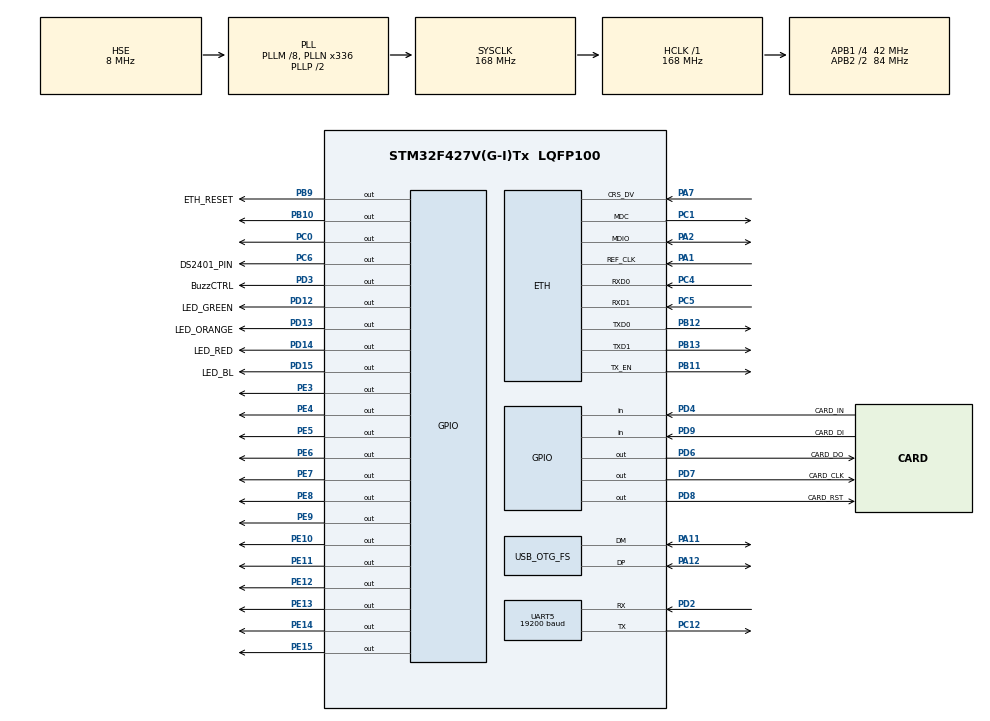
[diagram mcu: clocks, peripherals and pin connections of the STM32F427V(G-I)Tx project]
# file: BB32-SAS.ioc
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ADC1.Channel-2\#ChannelRegularConversion=ADC_CHANNEL_VREFINT
ADC1.NbrOfConversionFlag=1
ADC1.Rank-2\#ChannelRegularConversion=1
ADC1.SamplingTime-2\#ChannelRegularConversion=ADC_SAMPLETIME_480CYCLES
ADC1.master=1
Dma.Request0=UART5_RX
Dma.UART5_RX.0.Direction=DMA_PERIPH_TO_MEMORY
Dma.UART5_RX.0.FIFOMode=DMA_FIFOMODE_DISABLE
Dma.UART5_RX.0.Instance=DMA1_Stream0
Dma.UART5_RX.0.MemDataAlignment=DMA_MDATAALIGN_BYTE
Dma.UART5_RX.0.MemInc=DMA_MINC_ENABLE
Dma.UART5_RX.0.Mode=DMA_NORMAL
Dma.UART5_RX.0.PeriphDataAlignment=DMA_PDATAALIGN_BYTE
Dma.UART5_RX.0.PeriphInc=DMA_PINC_DISABLE
Dma.UART5_RX.0.Priority=DMA_PRIORITY_LOW
ETH.MediaInterface=HAL_ETH_RMII_MODE
LWIP.BSP.number=1
LWIP.IP_ADDRESS=172.017.000.254
LWIP.LWIP_BROADCAST_PING=1
LWIP.LWIP_DHCP=0
LWIP.LWIP_STATS=0
LWIP.MEMP_NUM_NETCONN=8
LWIP.MEM_SIZE=8192
LWIP.NETMASK_ADDRESS=255.255.000.000
LWIP.Version=v2.1.2_Cube
LWIP0.BSP.STBoard=false
LWIP0.BSP.api=BSP_COMPONENT_DRIVER
LWIP0.BSP.component=DP83848
LWIP0.BSP.instance=DP83848
LWIP0.BSP.name=Driver_PHY
LWIP0.BSP.semaphore=S_DP83848
LWIP0.BSP.solution=DP83848
Mcu.Family=STM32F4
Mcu.Name=STM32F427V(G-I)Tx
Mcu.Package=LQFP100
NVIC.DMA1_Stream0_IRQn=true\:0\:0\:false\:false\:true\:false\:true\:true
NVIC.ETH_IRQn=true\:0\:0\:false\:false\:true\:true\:true\:true
NVIC.OTG_FS_IRQn=true\:0\:0\:false\:false\:true\:false\:true\:true
NVIC.PriorityGroup=NVIC_PRIORITYGROUP_4
NVIC.UART5_IRQn=true\:0\:0\:false\:false\:true\:true\:true\:true
PA1.Mode=RMII
PA1.Signal=ETH_REF_CLK
PA11.Mode=Host_Only
PA11.Signal=USB_OTG_FS_DM
PA12.Mode=Host_Only
PA12.Signal=USB_OTG_FS_DP
PA13.Mode=Serial_Wire
PA13.Signal=SYS_JTMS-SWDIO
PA14.Mode=Serial_Wire
PA14.Signal=SYS_JTCK-SWCLK
PA2.Mode=RMII
PA2.Signal=ETH_MDIO
PA7.Mode=RMII
PA7.Signal=ETH_CRS_DV
PB10.GPIO_Speed=GPIO_SPEED_FREQ_LOW
PB10.Signal=GPIO_Output
PB11.Mode=RMII
PB11.Signal=ETH_TX_EN
PB12.Mode=RMII
PB12.Signal=ETH_TXD0
PB13.Mode=RMII
PB13.Signal=ETH_TXD1
PB9.GPIO_Label=ETH_RESET
PB9.PinState=GPIO_PIN_SET
PB9.Signal=GPIO_Output
PC0.GPIO_Speed=GPIO_SPEED_FREQ_LOW
PC0.Signal=GPIO_Output
PC1.Mode=RMII
PC1.Signal=ETH_MDC
PC12.Mode=Asynchronous
PC12.Signal=UART5_TX
PC14/OSC32_IN.Mode=LSE-External-Oscillator
PC14/OSC32_IN.Signal=RCC_OSC32_IN
PC15/OSC32_OUT.Mode=LSE-External-Oscillator
PC15/OSC32_OUT.Signal=RCC_OSC32_OUT
PC4.Mode=RMII
PC4.Signal=ETH_RXD0
PC5.Mode=RMII
PC5.Signal=ETH_RXD1
PC6.GPIO_Label=DS2401_PIN
PC6.GPIO_ModeDefaultOutputPP=GPIO_MODE_OUTPUT_OD
PC6.GPIO_PuPd=GPIO_NOPULL
PC6.GPIO_Speed=GPIO_SPEED_FREQ_VERY_HIGH
PC6.Signal=GPIO_Output
PD12.GPIO_Label=LED_GREEN
PD12.Signal=GPIO_Output
PD13.GPIO_Label=LED_ORANGE
PD13.Signal=GPIO_Output
PD14.GPIO_Label=LED_RED
PD14.Signal=GPIO_Output
PD15.GPIO_Label=LED_BL
PD15.Signal=GPIO_Output
PD2.Mode=Asynchronous
PD2.Signal=UART5_RX
PD3.GPIO_Label=BuzzCTRL
PD3.Signal=GPIO_Output
PD4.GPIO_Label=CARD_IN
PD4.Signal=GPIO_Input
PD6.GPIO_Label=CARD_DO
PD6.Signal=GPIO_Output
PD7.GPIO_Label=CARD_CLK
PD7.Signal=GPIO_Output
PD8.GPIO_Label=CARD_RST
PD8.Signal=GPIO_Output
PD9.GPIO_Label=CARD_DI
PD9.Signal=GPIO_Input
PE10.GPIO_Speed=GPIO_SPEED_FREQ_LOW
PE10.Signal=GPIO_Output
PE11.GPIO_Speed=GPIO_SPEED_FREQ_LOW
PE11.Signal=GPIO_Output
PE12.GPIO_Speed=GPIO_SPEED_FREQ_LOW
PE12.Signal=GPIO_Output
PE13.GPIO_Speed=GPIO_SPEED_FREQ_LOW
PE13.Signal=GPIO_Output
PE14.GPIO_Speed=GPIO_SPEED_FREQ_LOW
PE14.Signal=GPIO_Output
PE15.GPIO_Speed=GPIO_SPEED_FREQ_LOW
PE15.Signal=GPIO_Output
PE3.GPIO_Speed=GPIO_SPEED_FREQ_LOW
PE3.Signal=GPIO_Output
PE4.GPIO_Speed=GPIO_SPEED_FREQ_LOW
PE4.Signal=GPIO_Output
PE5.GPIO_Speed=GPIO_SPEED_FREQ_LOW
PE5.Signal=GPIO_Output
PE6.GPIO_Speed=GPIO_SPEED_FREQ_LOW
PE6.Signal=GPIO_Output
PE7.GPIO_Speed=GPIO_SPEED_FREQ_LOW
PE7.Signal=GPIO_Output
PE8.GPIO_Speed=GPIO_SPEED_FREQ_LOW
PE8.Signal=GPIO_Output
PE9.GPIO_Speed=GPIO_SPEED_FREQ_LOW
PE9.Signal=GPIO_Output
PH0/OSC_IN.Mode=HSE-External-Oscillator
PH0/OSC_IN.Signal=RCC_OSC_IN
PH1/OSC_OUT.Mode=HSE-External-Oscillator
PH1/OSC_OUT.Signal=RCC_OSC_OUT
ProjectManager.HeapSize=0x200
ProjectManager.StackSize=0x400
ProjectManager.TargetToolchain=STM32CubeIDE
RCC.48MHZClocksFreq_Value=48000000
RCC.AHBFreq_Value=168000000
RCC.APB1CLKDivider=RCC_HCLK_DIV4
RCC.APB1Freq_Value=42000000
RCC.APB1TimFreq_Value=84000000
RCC.APB2CLKDivider=RCC_HCLK_DIV2
RCC.APB2Freq_Value=84000000
RCC.APB2TimFreq_Value=168000000
RCC.CortexFreq_Value=168000000
RCC.HCLKFreq_Value=168000000
RCC.HSE_VALUE=8000000
RCC.HSI_VALUE=16000000
RCC.PLLM=8
RCC.PLLN=336
RCC.PLLQ=7
RCC.SYSCLKFreq_VALUE=168000000
RCC.SYSCLKSource=RCC_SYSCLKSOURCE_PLLCLK
RCC.VCOOutputFreq_Value=336000000
TIM6.Period=799
UART5.BaudRate=19200
UART5.VirtualMode=Asynchronous
UART5.WordLength=WORDLENGTH_9B
USB_HOST.BSP.number=1
USB_HOST.USBH_HandleTypeDef-MSC_FS=hUsbHostFS
USB_HOST.VirtualModeFS=Msc
USB_HOST0.BSP.STBoard=false
USB_HOST0.BSP.api=Unknown
USB_HOST0.BSP.condition=SW_VBUS_DRIVE_MSC_FS \= false
USB_HOST0.BSP.instance=PC0
USB_HOST0.BSP.ip=GPIO
USB_HOST0.BSP.mode=Output
USB_HOST0.BSP.name=Drive_VBUS_FS
USB_HOST0.BSP.solution=PC0
USB_OTG_FS.VirtualMode=Host_Only
USB_OTG_FS.phy_itface=HCD_PHY_EMBEDDED
VP_ADC1_Vref_Input.Mode=IN-Vrefint
VP_FATFS_VS_USB.Mode=USB
VP_LWIP_VS_Enabled.Mode=Enabled
VP_TIM6_VS_ClockSourceINT.Mode=Enable_Timer
VP_USB_HOST_VS_USB_HOST_MSC_FS.Mode=MSC_FS
board=custom

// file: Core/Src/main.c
/* USER CODE BEGIN Header */
/**
  ******************************************************************************
  * @file           : main.c
  * @brief          : Main program body
  ******************************************************************************
  * @attention
  *
  * Copyright (c) 2026 STMicroelectronics.
  * All rights reserved.
  *
  * This software is licensed under terms that can be found in the LICENSE file
  * in the root directory of this software component.
  * If no LICENSE file comes with this software, it is provided AS-IS.
  *
  ******************************************************************************
  */
/* USER CODE END Header */
#include "main.h"
#include "fatfs.h"
#include "lwip.h"
#include "usb_host.h"

/* USER CODE BEGIN Includes */
#include "udp_echo.h"
#include "lcd.h"
#include "mgmt.h"
#include "flash.h"
/* USER CODE END Includes */

ADC_HandleTypeDef hadc1;

TIM_HandleTypeDef htim6;

UART_HandleTypeDef huart5;
DMA_HandleTypeDef hdma_uart5_rx;

void SystemClock_Config(void);
static void MX_GPIO_Init(void);
static void MX_DMA_Init(void);
static void MX_TIM6_Init(void);
static void MX_ADC1_Init(void);
static void MX_UART5_Init(void);
void MX_USB_HOST_Process(void);

/* USER CODE BEGIN PFP */
void myMain(void);
/* USER CODE END PFP */

/* USER CODE BEGIN 0 */
extern struct netif gnetif;
/* USER CODE END 0 */

int main(void)
{

  /* MCU Configuration--------------------------------------------------------*/

  /* Reset of all peripherals, Initializes the Flash interface and the Systick. */
  HAL_Init();

  /* Configure the system clock */
  SystemClock_Config();

  /* USER CODE BEGIN SysInit */

  /* Reset del DP83848 */
  HAL_GPIO_WritePin(GPIOB, ETH_RESET_Pin, GPIO_PIN_RESET);
  HAL_Delay(10);
  HAL_GPIO_WritePin(GPIOB, ETH_RESET_Pin, GPIO_PIN_SET);
  HAL_Delay(100);   /* esperar estabilización del PHY */

  getConfigFromFlash(&features, &myCfgIP);

  /* USER CODE END SysInit */

  /* Initialize all configured peripherals */
  MX_GPIO_Init();
  MX_DMA_Init();
  MX_TIM6_Init();
  MX_FATFS_Init();
  MX_USB_HOST_Init();
  MX_LWIP_Init();
  MX_ADC1_Init();
  MX_UART5_Init();
  /* USER CODE BEGIN 2 */

  /* Configurar la IP propia con la obtenida de la configuración */
  if( myCfgIP )
  {
    gnetif.ip_addr.addr = myCfgIP;
    netif_set_addr(&gnetif, &gnetif.ip_addr, &gnetif.netmask, &gnetif.gw);
  }

  /* Inicializar servidor UDP echo */
//  UDP_Echo_Init();
//  UDP_Mgmt_Init();
//  LCD_init();

  myMain();

  /* USER CODE END 2 */

  /* Infinite loop */
  while (1)
  {
    MX_USB_HOST_Process();

  }
}

void SystemClock_Config(void)
{
  RCC_OscInitTypeDef RCC_OscInitStruct = {0};
  RCC_ClkInitTypeDef RCC_ClkInitStruct = {0};

  /** Configure the main internal regulator output voltage
  */
  __HAL_RCC_PWR_CLK_ENABLE();
  __HAL_PWR_VOLTAGESCALING_CONFIG(PWR_REGULATOR_VOLTAGE_SCALE1);

  /** Initializes the RCC Oscillators according to the specified parameters
  * in the RCC_OscInitTypeDef structure.
  */
  RCC_OscInitStruct.OscillatorType = RCC_OSCILLATORTYPE_HSE;
  RCC_OscInitStruct.HSEState = RCC_HSE_ON;
  RCC_OscInitStruct.PLL.PLLState = RCC_PLL_ON;
  RCC_OscInitStruct.PLL.PLLSource = RCC_PLLSOURCE_HSE;
  RCC_OscInitStruct.PLL.PLLM = 8;
  RCC_OscInitStruct.PLL.PLLN = 336;
  RCC_OscInitStruct.PLL.PLLP = RCC_PLLP_DIV2;
  RCC_OscInitStruct.PLL.PLLQ = 7;
  if (HAL_RCC_OscConfig(&RCC_OscInitStruct) != HAL_OK)
  {
    Error_Handler();
  }

  /** Initializes the CPU, AHB and APB buses clocks
  */
  RCC_ClkInitStruct.ClockType = RCC_CLOCKTYPE_HCLK|RCC_CLOCKTYPE_SYSCLK
                              |RCC_CLOCKTYPE_PCLK1|RCC_CLOCKTYPE_PCLK2;
  RCC_ClkInitStruct.SYSCLKSource = RCC_SYSCLKSOURCE_PLLCLK;
  RCC_ClkInitStruct.AHBCLKDivider = RCC_SYSCLK_DIV1;
  RCC_ClkInitStruct.APB1CLKDivider = RCC_HCLK_DIV4;
  RCC_ClkInitStruct.APB2CLKDivider = RCC_HCLK_DIV2;

  if (HAL_RCC_ClockConfig(&RCC_ClkInitStruct, FLASH_LATENCY_5) != HAL_OK)
  {
    Error_Handler();
  }
}

static void MX_ADC1_Init(void)
{

  ADC_ChannelConfTypeDef sConfig = {0};

  /** Configure the global features of the ADC (Clock, Resolution, Data Alignment and number of conversion)
  */
  hadc1.Instance = ADC1;
  hadc1.Init.ClockPrescaler = ADC_CLOCK_SYNC_PCLK_DIV4;
  hadc1.Init.Resolution = ADC_RESOLUTION_12B;
  hadc1.Init.ScanConvMode = DISABLE;
  hadc1.Init.ContinuousConvMode = DISABLE;
  hadc1.Init.DiscontinuousConvMode = DISABLE;
  hadc1.Init.ExternalTrigConvEdge = ADC_EXTERNALTRIGCONVEDGE_NONE;
  hadc1.Init.ExternalTrigConv = ADC_SOFTWARE_START;
  hadc1.Init.DataAlign = ADC_DATAALIGN_RIGHT;
  hadc1.Init.NbrOfConversion = 1;
  hadc1.Init.DMAContinuousRequests = DISABLE;
  hadc1.Init.EOCSelection = ADC_EOC_SINGLE_CONV;
  if (HAL_ADC_Init(&hadc1) != HAL_OK)
  {
    Error_Handler();
  }

  /** Configure for the selected ADC regular channel its corresponding rank in the sequencer and its sample time.
  */
  sConfig.Channel = ADC_CHANNEL_VREFINT;
  sConfig.Rank = 1;
  sConfig.SamplingTime = ADC_SAMPLETIME_480CYCLES;
  if (HAL_ADC_ConfigChannel(&hadc1, &sConfig) != HAL_OK)
  {
    Error_Handler();
  }

}

static void MX_TIM6_Init(void)
{

  TIM_MasterConfigTypeDef sMasterConfig = {0};

  htim6.Instance = TIM6;
  htim6.Init.Prescaler = 0;
  htim6.Init.CounterMode = TIM_COUNTERMODE_UP;
  htim6.Init.Period = 799;
  htim6.Init.AutoReloadPreload = TIM_AUTORELOAD_PRELOAD_DISABLE;
  if (HAL_TIM_Base_Init(&htim6) != HAL_OK)
  {
    Error_Handler();
  }
  sMasterConfig.MasterOutputTrigger = TIM_TRGO_RESET;
  sMasterConfig.MasterSlaveMode = TIM_MASTERSLAVEMODE_DISABLE;
  if (HAL_TIMEx_MasterConfigSynchronization(&htim6, &sMasterConfig) != HAL_OK)
  {
    Error_Handler();
  }

}

static void MX_UART5_Init(void)
{

  huart5.Instance = UART5;
  huart5.Init.BaudRate = 19200;
  huart5.Init.WordLength = UART_WORDLENGTH_9B;
  huart5.Init.StopBits = UART_STOPBITS_1;
  huart5.Init.Parity = UART_PARITY_NONE;
  huart5.Init.Mode = UART_MODE_TX_RX;
  huart5.Init.HwFlowCtl = UART_HWCONTROL_NONE;
  huart5.Init.OverSampling = UART_OVERSAMPLING_16;
  if (HAL_UART_Init(&huart5) != HAL_OK)
  {
    Error_Handler();
  }

}

static void MX_DMA_Init(void)
{

  /* DMA controller clock enable */
  __HAL_RCC_DMA1_CLK_ENABLE();

  /* DMA interrupt init */
  /* DMA1_Stream0_IRQn interrupt configuration */
  HAL_NVIC_SetPriority(DMA1_Stream0_IRQn, 0, 0);
  HAL_NVIC_EnableIRQ(DMA1_Stream0_IRQn);

}

static void MX_GPIO_Init(void)
{
  GPIO_InitTypeDef GPIO_InitStruct = {0};

  /* GPIO Ports Clock Enable */
  __HAL_RCC_GPIOE_CLK_ENABLE();
  __HAL_RCC_GPIOC_CLK_ENABLE();
  __HAL_RCC_GPIOH_CLK_ENABLE();
  __HAL_RCC_GPIOA_CLK_ENABLE();
  __HAL_RCC_GPIOB_CLK_ENABLE();
  __HAL_RCC_GPIOD_CLK_ENABLE();

  /*Configure GPIO pin Output Level */
  HAL_GPIO_WritePin(GPIOE, GPIO_PIN_3|GPIO_PIN_4|GPIO_PIN_5|GPIO_PIN_6
                          |GPIO_PIN_7|GPIO_PIN_8|GPIO_PIN_9|GPIO_PIN_10
                          |GPIO_PIN_11|GPIO_PIN_12|GPIO_PIN_13|GPIO_PIN_14
                          |GPIO_PIN_15, GPIO_PIN_RESET);

  /*Configure GPIO pin Output Level */
  HAL_GPIO_WritePin(GPIOC, GPIO_PIN_0|DS2401_PIN_Pin, GPIO_PIN_RESET);

  /*Configure GPIO pin Output Level */
  HAL_GPIO_WritePin(GPIOB, GPIO_PIN_10, GPIO_PIN_RESET);

  /*Configure GPIO pin Output Level */
  HAL_GPIO_WritePin(GPIOD, CARD_RST_Pin|LED_GREEN_Pin|LED_ORANGE_Pin|LED_RED_Pin
                          |LED_BL_Pin|BuzzCTRL_Pin|CARD_DO_Pin|CARD_CLK_Pin, GPIO_PIN_RESET);

  /*Configure GPIO pin Output Level */
  HAL_GPIO_WritePin(ETH_RESET_GPIO_Port, ETH_RESET_Pin, GPIO_PIN_SET);

  /*Configure GPIO pins : PE3 PE4 PE5 PE6
                           PE7 PE8 PE9 PE10
                           PE11 PE12 PE13 PE14
                           PE15 */
  GPIO_InitStruct.Pin = GPIO_PIN_3|GPIO_PIN_4|GPIO_PIN_5|GPIO_PIN_6
                          |GPIO_PIN_7|GPIO_PIN_8|GPIO_PIN_9|GPIO_PIN_10
                          |GPIO_PIN_11|GPIO_PIN_12|GPIO_PIN_13|GPIO_PIN_14
                          |GPIO_PIN_15;
  GPIO_InitStruct.Mode = GPIO_MODE_OUTPUT_PP;
  GPIO_InitStruct.Pull = GPIO_NOPULL;
  GPIO_InitStruct.Speed = GPIO_SPEED_FREQ_LOW;
  HAL_GPIO_Init(GPIOE, &GPIO_InitStruct);

  /*Configure GPIO pin : PC0 */
  GPIO_InitStruct.Pin = GPIO_PIN_0;
  GPIO_InitStruct.Mode = GPIO_MODE_OUTPUT_PP;
  GPIO_InitStruct.Pull = GPIO_NOPULL;
  GPIO_InitStruct.Speed = GPIO_SPEED_FREQ_LOW;
  HAL_GPIO_Init(GPIOC, &GPIO_InitStruct);

  /*Configure GPIO pins : PB10 ETH_RESET_Pin */
  GPIO_InitStruct.Pin = GPIO_PIN_10|ETH_RESET_Pin;
  GPIO_InitStruct.Mode = GPIO_MODE_OUTPUT_PP;
  GPIO_InitStruct.Pull = GPIO_NOPULL;
  GPIO_InitStruct.Speed = GPIO_SPEED_FREQ_LOW;
  HAL_GPIO_Init(GPIOB, &GPIO_InitStruct);

  /*Configure GPIO pins : CARD_RST_Pin LED_GREEN_Pin LED_ORANGE_Pin LED_RED_Pin
                           LED_BL_Pin BuzzCTRL_Pin CARD_DO_Pin CARD_CLK_Pin */
  GPIO_InitStruct.Pin = CARD_RST_Pin|LED_GREEN_Pin|LED_ORANGE_Pin|LED_RED_Pin
                          |LED_BL_Pin|BuzzCTRL_Pin|CARD_DO_Pin|CARD_CLK_Pin;
  GPIO_InitStruct.Mode = GPIO_MODE_OUTPUT_PP;
  GPIO_InitStruct.Pull = GPIO_NOPULL;
  GPIO_InitStruct.Speed = GPIO_SPEED_FREQ_LOW;
  HAL_GPIO_Init(GPIOD, &GPIO_InitStruct);

  /*Configure GPIO pins : CARD_DI_Pin CARD_IN_Pin */
  GPIO_InitStruct.Pin = CARD_DI_Pin|CARD_IN_Pin;
  GPIO_InitStruct.Mode = GPIO_MODE_INPUT;
  GPIO_InitStruct.Pull = GPIO_NOPULL;
  HAL_GPIO_Init(GPIOD, &GPIO_InitStruct);

  /*Configure GPIO pin : DS2401_PIN_Pin */
  GPIO_InitStruct.Pin = DS2401_PIN_Pin;
  GPIO_InitStruct.Mode = GPIO_MODE_OUTPUT_OD;
  GPIO_InitStruct.Pull = GPIO_NOPULL;
  GPIO_InitStruct.Speed = GPIO_SPEED_FREQ_VERY_HIGH;
  HAL_GPIO_Init(DS2401_PIN_GPIO_Port, &GPIO_InitStruct);

}

void Error_Handler(void)
{
  __disable_irq();
  while (1)
  {
  }
}
